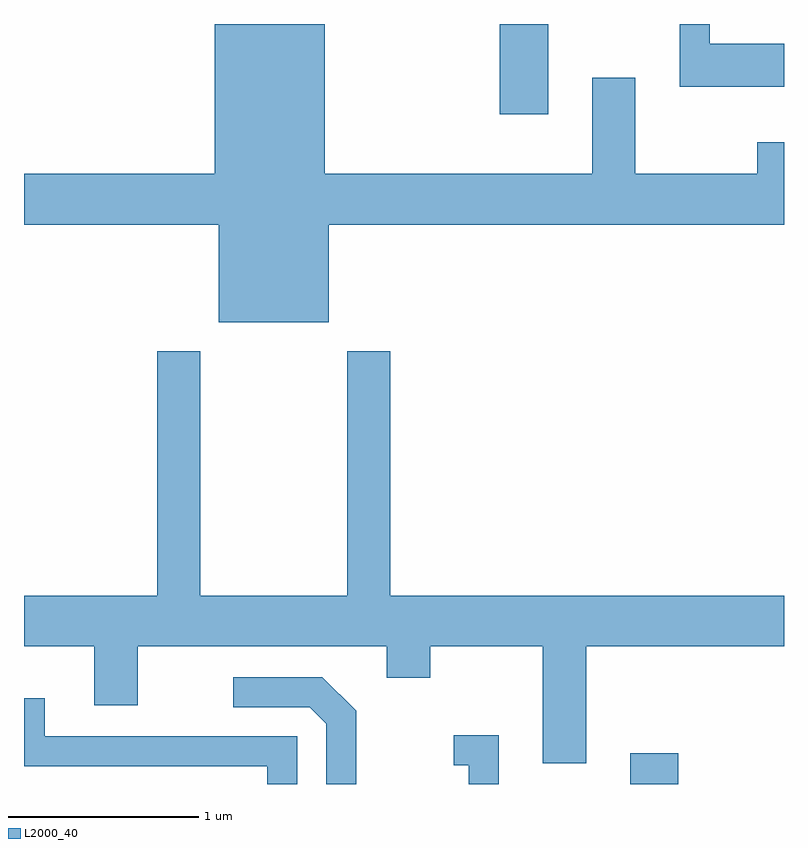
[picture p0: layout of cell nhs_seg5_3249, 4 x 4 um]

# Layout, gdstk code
import gdstk
lib = gdstk.Library(unit=1e-6, precision=1e-09)
def R(c, l, rs):  # rectangles x0, y0, x1, y1
    for r in rs: c.add(gdstk.rectangle(r[:2], r[2:], *l))
def P(c, l, *ps):  # polygons
    for p in ps: c.add(gdstk.Polygon(p, *l))
L2000_40 = (2000, 40)

nhs_seg5_3249 = lib.new_cell('nhs_seg5_3249')
R(nhs_seg5_3249, L2000_40, [(284.801,1456.072,285.054,1456.234), (284.116,1459.596,284.369,1460.072)])
P(nhs_seg5_3249, L2000_40, [(285.611,1459.969),(285.219,1459.969),(285.219,1460.072),(285.061,1460.072),(285.061,1459.741),(285.611,1459.741)],
  [(283.214,1459.016),(285.611,1459.016),(285.611,1459.449),(285.471,1459.449),(285.471,1459.284),(284.829,1459.284),(284.829,1459.789),(284.601,1459.789),(284.601,1459.284),(283.194,1459.284),(283.194,1460.072),(282.616,1460.072),(282.616,1459.284),(281.611,1459.284),(281.611,1459.016),(282.636,1459.016),(282.636,1458.501),(283.214,1458.501)],
  [(284.569,1456.796),(285.611,1456.796),(285.611,1457.064),(283.539,1457.064),(283.539,1458.349),(283.311,1458.349),(283.311,1457.064),(282.539,1457.064),(282.539,1458.349),(282.311,1458.349),(282.311,1457.064),(281.611,1457.064),(281.611,1456.796),(281.981,1456.796),(281.981,1456.486),(282.209,1456.486),(282.209,1456.796),(283.521,1456.796),(283.521,1456.631),(283.749,1456.631),(283.749,1456.796),(284.341,1456.796),(284.341,1456.181),(284.569,1456.181)],
  [(283.359,1456.457),(283.182,1456.634),(282.713,1456.634),(282.713,1456.476),(283.114,1456.476),(283.201,1456.389),(283.201,1456.072),(283.359,1456.072)],
  [(283.049,1456.324),(281.719,1456.324),(281.719,1456.523),(281.611,1456.523),(281.611,1456.166),(282.891,1456.166),(282.891,1456.072),(283.049,1456.072)],
  [(284.109,1456.329),(283.873,1456.329),(283.873,1456.171),(283.951,1456.171),(283.951,1456.072),(284.109,1456.072)])

lib.write_gds('nhs_seg5_3249.gds')
